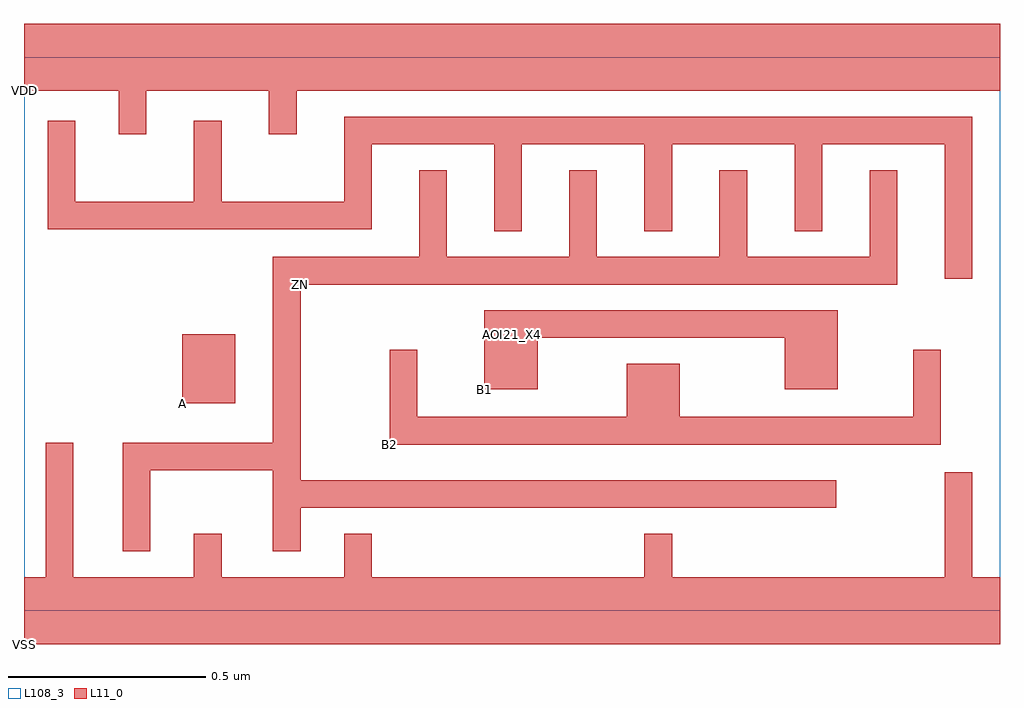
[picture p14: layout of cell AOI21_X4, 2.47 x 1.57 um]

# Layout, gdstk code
import gdstk
lib = gdstk.Library(unit=1e-6, precision=1e-09)
def R(c, l, rs):  # rectangles x0, y0, x1, y1
    for r in rs: c.add(gdstk.rectangle(r[:2], r[2:], *l))
def P(c, l, *ps):  # polygons
    for p in ps: c.add(gdstk.Polygon(p, *l))
L11_0 = (11, 0)
L108_3 = (108, 3)

aoi21_x4 = lib.new_cell('AOI21_X4')
R(aoi21_x4, L11_0, [(0.4,0.525,0.535,0.7)])
P(aoi21_x4, L11_0, [(1.165,0.56),(1.3,0.56),(1.3,0.69),(1.925,0.69),(1.925,0.56),(2.06,0.56),(2.06,0.76),(1.165,0.76)],
  [(0.925,0.42),(2.32,0.42),(2.32,0.66),(2.25,0.66),(2.25,0.49),(1.66,0.49),(1.66,0.625),(1.525,0.625),(1.525,0.49),(0.995,0.49),(0.995,0.66),(0.925,0.66)],
  [(0.7,0.825),(2.21,0.825),(2.21,1.115),(2.14,1.115),(2.14,0.895),(1.83,0.895),(1.83,1.115),(1.76,1.115),(1.76,0.895),(1.45,0.895),(1.45,1.115),(1.38,1.115),(1.38,0.895),(1.07,0.895),(1.07,1.115),(1,1.115),(1,0.895),(0.63,0.895),(0.63,0.425),(0.25,0.425),(0.25,0.15),(0.32,0.15),(0.32,0.355),(0.63,0.355),(0.63,0.15),(0.7,0.15),(0.7,0.26),(2.055,0.26),(2.055,0.33),(0.7,0.33)],
  [(0,1.315),(0.24,1.315),(0.24,1.205),(0.31,1.205),(0.31,1.315),(0.62,1.315),(0.62,1.205),(0.69,1.205),(0.69,1.315),(2.4,1.315),(2.47,1.315),(2.47,1.485),(2.4,1.485),(0,1.485)],
  [(0,-0.085),(2.47,-0.085),(2.47,0.085),(2.4,0.085),(2.4,0.35),(2.33,0.35),(2.33,0.085),(1.64,0.085),(1.64,0.195),(1.57,0.195),(1.57,0.085),(0.88,0.085),(0.88,0.195),(0.81,0.195),(0.81,0.085),(0.5,0.085),(0.5,0.195),(0.43,0.195),(0.43,0.085),(0.125,0.085),(0.125,0.425),(0.055,0.425),(0.055,0.085),(0,0.085)],
  [(0.06,0.965),(0.88,0.965),(0.88,1.18),(1.19,1.18),(1.19,0.96),(1.26,0.96),(1.26,1.18),(1.57,1.18),(1.57,0.96),(1.64,0.96),(1.64,1.18),(1.95,1.18),(1.95,0.96),(2.02,0.96),(2.02,1.18),(2.33,1.18),(2.33,0.84),(2.4,0.84),(2.4,1.25),(0.81,1.25),(0.81,1.035),(0.5,1.035),(0.5,1.24),(0.43,1.24),(0.43,1.035),(0.13,1.035),(0.13,1.24),(0.06,1.24)])
R(aoi21_x4, L108_3, [(0,0,2.47,1.4)])
aoi21_x4.add(gdstk.Label('AOI21_X4', (1.235,0.7), layer=108, texttype=3))
aoi21_x4.add(gdstk.Label('A', (0.4,0.525), layer=11, texttype=0))
aoi21_x4.add(gdstk.Label('B1', (1.165,0.56), layer=11, texttype=0))
aoi21_x4.add(gdstk.Label('B2', (0.925,0.42), layer=11, texttype=0))
aoi21_x4.add(gdstk.Label('ZN', (0.7,0.825), layer=11, texttype=0))
aoi21_x4.add(gdstk.Label('VDD', (0,1.315), layer=11, texttype=0))
aoi21_x4.add(gdstk.Label('VSS', (0,-0.085), layer=11, texttype=0))

lib.write_gds('AOI21_X4.gds')
